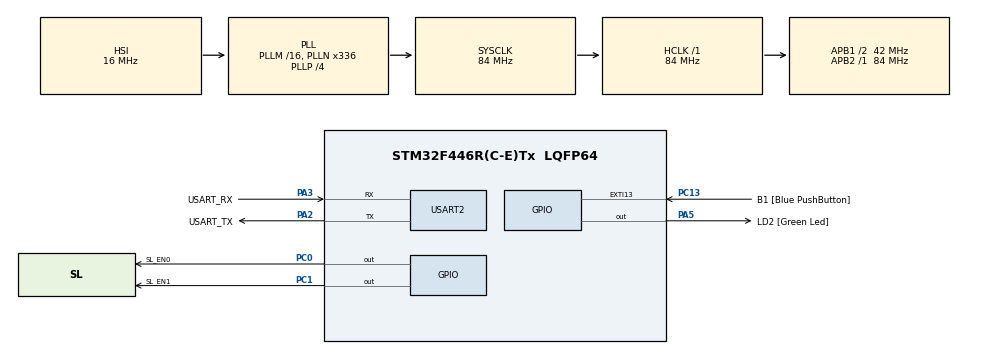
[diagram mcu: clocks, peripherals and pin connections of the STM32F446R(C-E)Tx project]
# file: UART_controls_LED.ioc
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Mcu.Family=STM32F4
Mcu.Name=STM32F446R(C-E)Tx
Mcu.Package=LQFP64
NVIC.PriorityGroup=NVIC_PRIORITYGROUP_0
NVIC.USART2_IRQn=true\:0\:0\:false\:false\:true\:true\:true\:true
PA13.GPIO_Label=TMS
PA13.Mode=Serial_Wire
PA13.Signal=SYS_JTMS-SWDIO
PA14.GPIO_Label=TCK
PA14.Mode=Serial_Wire
PA14.Signal=SYS_JTCK-SWCLK
PA2.GPIO_Label=USART_TX
PA2.Mode=Asynchronous
PA2.Signal=USART2_TX
PA3.GPIO_Label=USART_RX
PA3.Mode=Asynchronous
PA3.Signal=USART2_RX
PA5.GPIO_Label=LD2 [Green Led]
PA5.Signal=GPIO_Output
PB3.GPIO_Label=SWO
PB3.Signal=SYS_JTDO-SWO
PC0.GPIO_Label=SL_EN0
PC0.Signal=GPIO_Output
PC1.GPIO_Label=SL_EN1
PC1.Signal=GPIO_Output
PC13.GPIO_Label=B1 [Blue PushButton]
PC13.GPIO_ModeDefaultEXTI=GPIO_MODE_IT_FALLING
PC13.Signal=GPXTI13
PC14-OSC32_IN.Mode=LSE-External-Oscillator
PC14-OSC32_IN.Signal=RCC_OSC32_IN
PC15-OSC32_OUT.Mode=LSE-External-Oscillator
PC15-OSC32_OUT.Signal=RCC_OSC32_OUT
PH0-OSC_IN.Mode=HSE-External-Oscillator
PH0-OSC_IN.Signal=RCC_OSC_IN
PH1-OSC_OUT.Mode=HSE-External-Oscillator
PH1-OSC_OUT.Signal=RCC_OSC_OUT
ProjectManager.HeapSize=0x200
ProjectManager.StackSize=0x400
ProjectManager.TargetToolchain=STM32CubeIDE
RCC.48MHZClocksFreq_Value=84000000
RCC.AHBFreq_Value=84000000
RCC.APB1CLKDivider=RCC_HCLK_DIV2
RCC.APB1Freq_Value=42000000
RCC.APB1TimFreq_Value=84000000
RCC.APB2Freq_Value=84000000
RCC.APB2TimFreq_Value=84000000
RCC.CortexFreq_Value=84000000
RCC.FLatency-AdvancedSettings=FLASH_LATENCY_2
RCC.HCLKFreq_Value=84000000
RCC.HSE_VALUE=8000000
RCC.HSI_VALUE=16000000
RCC.PLLN=336
RCC.PLLP=RCC_PLLP_DIV4
RCC.SYSCLKFreq_VALUE=84000000
RCC.SYSCLKSource=RCC_SYSCLKSOURCE_PLLCLK
RCC.USBFreq_Value=168000000
RCC.VCOOutputFreq_Value=336000000
USART2.VirtualMode=VM_ASYNC
board=NUCLEO-F446RE

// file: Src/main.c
/* USER CODE BEGIN Header */
/**
  ******************************************************************************
  * @file           : main.c
  * @brief          : Main program body
  ******************************************************************************
  * @attention
  *
  * Copyright (c) 2026 STMicroelectronics.
  * All rights reserved.
  *
  * This software is licensed under terms that can be found in the LICENSE file
  * in the root directory of this software component.
  * If no LICENSE file comes with this software, it is provided AS-IS.
  *
  ******************************************************************************
  */
/* USER CODE END Header */
#include "main.h"

UART_HandleTypeDef huart2;

void SystemClock_Config(void);
static void MX_GPIO_Init(void);
static void MX_USART2_UART_Init(void);

/* USER CODE BEGIN 0 */
uint8_t rx_data = 1;
uint8_t led_on = 9;
uint8_t cmd_avail = 0;

/* USER CODE END 0 */

int main(void)
{

  /* MCU Configuration--------------------------------------------------------*/

  /* Reset of all peripherals, Initializes the Flash interface and the Systick. */
  HAL_Init();

  /* Configure the system clock */
  SystemClock_Config();

  /* Initialize all configured peripherals */
  MX_GPIO_Init();
  MX_USART2_UART_Init();
  /* USER CODE BEGIN 2 */
  HAL_UART_Receive_IT(&huart2, &rx_data, 1);
  uint8_t msg_0[] = "\r\nLED OFF!\r\n";
  uint8_t msg_1[] = "\r\nLED ON!\r\n";

  /* USER CODE END 2 */

  /* Infinite loop */
  while (1)
  {

    /* USER CODE BEGIN 3 */
	 /*
	 * Just uart transmits
	 */
	  if (cmd_avail)
	  {
		  cmd_avail = 0;
		  if (led_on == 0)
		  {
			  HAL_UART_Transmit(&huart2, msg_0, sizeof(msg_0)-1, HAL_MAX_DELAY);
		  }
		  else
		  {
			  HAL_UART_Transmit(&huart2, msg_1, sizeof(msg_1)-1, HAL_MAX_DELAY);
		  }
			 // HAL_Delay(10000);
	  }
  }
  /* USER CODE END 3 */
}

void SystemClock_Config(void)
{
  RCC_OscInitTypeDef RCC_OscInitStruct = {0};
  RCC_ClkInitTypeDef RCC_ClkInitStruct = {0};

  /** Configure the main internal regulator output voltage
  */
  __HAL_RCC_PWR_CLK_ENABLE();
  __HAL_PWR_VOLTAGESCALING_CONFIG(PWR_REGULATOR_VOLTAGE_SCALE3);

  /** Initializes the RCC Oscillators according to the specified parameters
  * in the RCC_OscInitTypeDef structure.
  */
  RCC_OscInitStruct.OscillatorType = RCC_OSCILLATORTYPE_HSI;
  RCC_OscInitStruct.HSIState = RCC_HSI_ON;
  RCC_OscInitStruct.HSICalibrationValue = RCC_HSICALIBRATION_DEFAULT;
  RCC_OscInitStruct.PLL.PLLState = RCC_PLL_ON;
  RCC_OscInitStruct.PLL.PLLSource = RCC_PLLSOURCE_HSI;
  RCC_OscInitStruct.PLL.PLLM = 16;
  RCC_OscInitStruct.PLL.PLLN = 336;
  RCC_OscInitStruct.PLL.PLLP = RCC_PLLP_DIV4;
  RCC_OscInitStruct.PLL.PLLQ = 2;
  RCC_OscInitStruct.PLL.PLLR = 2;
  if (HAL_RCC_OscConfig(&RCC_OscInitStruct) != HAL_OK)
  {
    Error_Handler();
  }

  /** Initializes the CPU, AHB and APB buses clocks
  */
  RCC_ClkInitStruct.ClockType = RCC_CLOCKTYPE_HCLK|RCC_CLOCKTYPE_SYSCLK
                              |RCC_CLOCKTYPE_PCLK1|RCC_CLOCKTYPE_PCLK2;
  RCC_ClkInitStruct.SYSCLKSource = RCC_SYSCLKSOURCE_PLLCLK;
  RCC_ClkInitStruct.AHBCLKDivider = RCC_SYSCLK_DIV1;
  RCC_ClkInitStruct.APB1CLKDivider = RCC_HCLK_DIV2;
  RCC_ClkInitStruct.APB2CLKDivider = RCC_HCLK_DIV1;

  if (HAL_RCC_ClockConfig(&RCC_ClkInitStruct, FLASH_LATENCY_2) != HAL_OK)
  {
    Error_Handler();
  }
}

static void MX_USART2_UART_Init(void)
{

  huart2.Instance = USART2;
  huart2.Init.BaudRate = 115200;
  huart2.Init.WordLength = UART_WORDLENGTH_8B;
  huart2.Init.StopBits = UART_STOPBITS_1;
  huart2.Init.Parity = UART_PARITY_NONE;
  huart2.Init.Mode = UART_MODE_TX_RX;
  huart2.Init.HwFlowCtl = UART_HWCONTROL_NONE;
  huart2.Init.OverSampling = UART_OVERSAMPLING_16;
  if (HAL_UART_Init(&huart2) != HAL_OK)
  {
    Error_Handler();
  }

}

static void MX_GPIO_Init(void)
{
  GPIO_InitTypeDef GPIO_InitStruct = {0};

  /* GPIO Ports Clock Enable */
  __HAL_RCC_GPIOC_CLK_ENABLE();
  __HAL_RCC_GPIOH_CLK_ENABLE();
  __HAL_RCC_GPIOA_CLK_ENABLE();
  __HAL_RCC_GPIOB_CLK_ENABLE();

  /*Configure GPIO pin Output Level */
  HAL_GPIO_WritePin(GPIOC, SL_EN0_Pin|SL_EN1_Pin, GPIO_PIN_RESET);

  /*Configure GPIO pin Output Level */
  HAL_GPIO_WritePin(LD2_GPIO_Port, LD2_Pin, GPIO_PIN_RESET);

  /*Configure GPIO pin : B1_Pin */
  GPIO_InitStruct.Pin = B1_Pin;
  GPIO_InitStruct.Mode = GPIO_MODE_IT_FALLING;
  GPIO_InitStruct.Pull = GPIO_NOPULL;
  HAL_GPIO_Init(B1_GPIO_Port, &GPIO_InitStruct);

  /*Configure GPIO pins : SL_EN0_Pin SL_EN1_Pin */
  GPIO_InitStruct.Pin = SL_EN0_Pin|SL_EN1_Pin;
  GPIO_InitStruct.Mode = GPIO_MODE_OUTPUT_PP;
  GPIO_InitStruct.Pull = GPIO_NOPULL;
  GPIO_InitStruct.Speed = GPIO_SPEED_FREQ_LOW;
  HAL_GPIO_Init(GPIOC, &GPIO_InitStruct);

  /*Configure GPIO pin : LD2_Pin */
  GPIO_InitStruct.Pin = LD2_Pin;
  GPIO_InitStruct.Mode = GPIO_MODE_OUTPUT_PP;
  GPIO_InitStruct.Pull = GPIO_NOPULL;
  GPIO_InitStruct.Speed = GPIO_SPEED_FREQ_LOW;
  HAL_GPIO_Init(LD2_GPIO_Port, &GPIO_InitStruct);

}

/* USER CODE BEGIN 4 */
void HAL_UART_RxCpltCallback(UART_HandleTypeDef *huart)
{
  if (huart->Instance == USART2)
  {
    if (rx_data == '1')
    {
    	led_on = 1;
    	// HAL_UART_Transmit(&huart2, (uint8_t *)"1", 1, HAL_MAX_DELAY);
    	HAL_GPIO_WritePin(GPIOA, GPIO_PIN_5, GPIO_PIN_SET);
    	HAL_GPIO_WritePin(GPIOC, GPIO_PIN_0, GPIO_PIN_SET);
    	HAL_GPIO_WritePin(GPIOC, GPIO_PIN_1, GPIO_PIN_SET);
    }
    else if (rx_data == '0')
    {
    	led_on = 0;
    	// HAL_UART_Transmit(&huart2, (uint8_t *)"0", 1, HAL_MAX_DELAY);
    	HAL_GPIO_WritePin(GPIOA, GPIO_PIN_5, GPIO_PIN_RESET);
    	HAL_GPIO_WritePin(GPIOC, GPIO_PIN_0, GPIO_PIN_RESET);
    	HAL_GPIO_WritePin(GPIOC, GPIO_PIN_1, GPIO_PIN_RESET);
    }
    cmd_avail = 1;
    // re-enable interrupt reception
    HAL_UART_Receive_IT(&huart2, &rx_data, 1);
  }
}

/* USER CODE END 4 */

void Error_Handler(void)
{
  __disable_irq();
  while (1)
  {
  }
}
